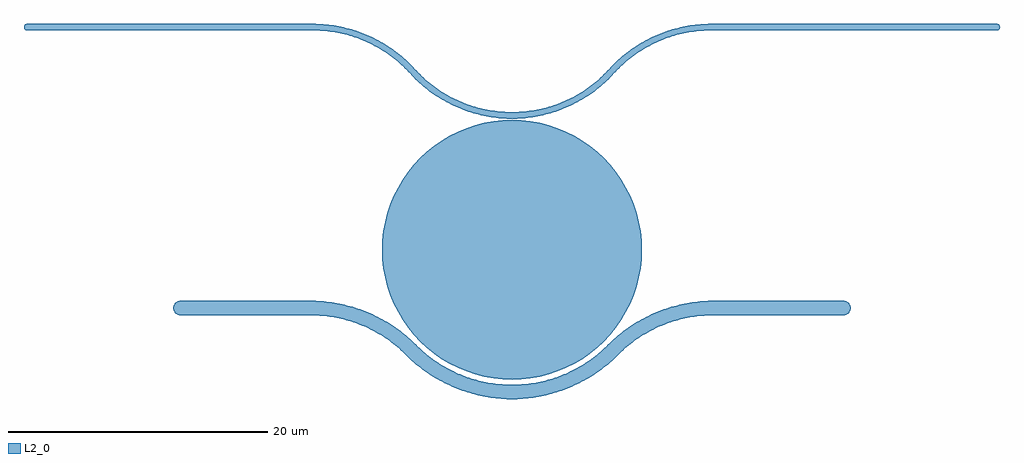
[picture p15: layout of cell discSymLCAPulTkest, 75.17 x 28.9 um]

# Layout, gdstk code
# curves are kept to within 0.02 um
import gdstk
lib = gdstk.Library(unit=1e-6, precision=1e-09)
def P(c, l, *ps):  # polygons
    for p in ps: c.add(gdstk.Polygon(p, *l))
L2_0 = (2, 0)

discsymlcapultkest = lib.new_cell('discSymLCAPulTkest')
P(discsymlcapultkest, L2_0, [(10,10),(9.287,10.025),(8.577,10.102),(7.874,10.229),(7.183,10.405),(6.505,10.631),(5.846,10.904),(5.208,11.223),(4.594,11.587),(4.007,11.995),(3.451,12.443),(2.929,12.929),(2.443,13.451),(1.995,14.007),(1.587,14.594),(1.223,15.208),(0.904,15.846),(0.631,16.505),(0.405,17.183),(0.229,17.874),(0.102,18.577),(0.025,19.287),(0,20),(0.025,20.713),(0.102,21.423),(0.229,22.126),(0.405,22.817),(0.631,23.495),(0.904,24.154),(1.223,24.792),(1.587,25.406),(1.995,25.993),(2.443,26.549),(2.929,27.071),(3.451,27.557),(4.007,28.005),(4.594,28.413),(5.208,28.777),(5.846,29.096),(6.505,29.369),(7.183,29.595),(7.874,29.771),(8.577,29.898),(9.287,29.975),(10,30),(10.713,29.975),(11.423,29.898),(12.126,29.771),(12.817,29.595),(13.495,29.369),(14.154,29.096),(14.792,28.777),(15.406,28.413),(15.993,28.005),(16.549,27.557),(17.071,27.071),(17.557,26.549),(18.005,25.993),(18.413,25.406),(18.777,24.792),(19.096,24.154),(19.369,23.495),(19.595,22.817),(19.771,22.126),(19.898,21.423),(19.975,20.713),(20,20),(19.975,19.287),(19.898,18.577),(19.771,17.874),(19.595,17.183),(19.369,16.505),(19.096,15.846),(18.777,15.208),(18.413,14.594),(18.005,14.007),(17.557,13.451),(17.071,12.929),(16.549,12.443),(15.993,11.995),(15.406,11.587),(14.792,11.223),(14.154,10.904),(13.495,10.631),(12.817,10.405),(12.126,10.229),(11.423,10.102),(10.713,10.025)],
  [(10,30.1),(8.797,30.169),(7.609,30.373),(6.452,30.711),(5.341,31.179),(4.29,31.769),(3.47,32.35),(2.709,33.005),(1.885,33.859),(1.329,34.386),(0.734,34.869),(0.105,35.305),(-0.725,35.782),(-1.596,36.178),(-2.501,36.49),(-3.431,36.715),(-4.379,36.851),(-5.335,36.896),(-27.335,36.896),(-27.335,37.396),(-5.335,37.396),(-4.332,37.348),(-3.337,37.206),(-2.361,36.97),(-1.411,36.643),(-0.496,36.227),(0.375,35.727),(1.035,35.268),(1.659,34.761),(2.1,34.351),(3.053,33.368),(3.778,32.744),(4.56,32.19),(5.561,31.628),(6.619,31.183),(7.722,30.86),(8.853,30.665),(10,30.6),(11.147,30.665),(12.278,30.86),(13.381,31.183),(14.439,31.628),(15.44,32.19),(16.222,32.744),(16.947,33.368),(17.9,34.351),(18.341,34.761),(18.965,35.268),(19.625,35.727),(20.496,36.227),(21.411,36.643),(22.361,36.97),(23.337,37.206),(24.332,37.348),(25.335,37.396),(47.335,37.396),(47.335,36.896),(25.335,36.896),(24.379,36.851),(23.431,36.715),(22.501,36.49),(21.596,36.178),(20.725,35.782),(19.895,35.305),(19.266,34.869),(18.671,34.386),(18.115,33.859),(17.291,33.005),(16.53,32.35),(15.71,31.769),(14.659,31.179),(13.548,30.711),(12.391,30.373),(11.203,30.169)],
  [(-27.335,36.896),(-27.432,36.916),(-27.512,36.969),(-27.565,37.049),(-27.585,37.146),(-27.565,37.243),(-27.512,37.323),(-27.432,37.376),(-27.335,37.396)],
  [(47.335,36.896),(47.335,37.396),(47.432,37.376),(47.512,37.323),(47.565,37.243),(47.585,37.146),(47.565,37.049),(47.512,36.969),(47.432,36.916)],
  [(10,8.5),(8.766,8.566),(7.546,8.765),(6.945,8.913),(6.159,9.16),(5.018,9.635),(3.934,10.23),(3.084,10.812),(2.444,11.331),(1.157,12.525),(0.108,13.3),(-0.532,13.682),(-1.198,14.016),(-1.886,14.303),(-2.593,14.539),(-3.134,14.683),(-3.865,14.829),(-4.419,14.904),(-5.162,14.957),(-15.535,14.964),(-15.535,16.064),(-5.329,16.062),(-4.506,16.018),(-3.892,15.946),(-2.68,15.704),(-1.889,15.471),(-1.117,15.181),(-0.368,14.838),(0.531,14.334),(1.047,13.994),(1.706,13.498),(2.327,12.957),(3.027,12.284),(3.746,11.691),(4.674,11.067),(5.495,10.627),(6.527,10.197),(7.599,9.881),(8.884,9.66),(10,9.6),(11.116,9.66),(12.401,9.881),(13.473,10.197),(14.505,10.627),(15.326,11.067),(16.254,11.691),(16.973,12.284),(17.673,12.957),(18.294,13.498),(18.953,13.994),(19.469,14.334),(20.368,14.838),(21.117,15.181),(21.889,15.471),(22.68,15.704),(23.892,15.946),(24.506,16.018),(25.329,16.062),(35.535,16.064),(35.535,14.964),(25.162,14.957),(24.419,14.904),(23.865,14.829),(23.134,14.683),(22.593,14.539),(21.886,14.303),(21.198,14.016),(20.532,13.682),(19.892,13.3),(18.843,12.525),(17.556,11.331),(16.916,10.812),(16.066,10.23),(14.982,9.635),(13.841,9.16),(13.055,8.913),(12.454,8.765),(11.234,8.566)],
  [(-15.535,14.964),(-15.749,15.007),(-15.924,15.125),(-16.042,15.3),(-16.085,15.514),(-16.042,15.728),(-15.924,15.903),(-15.749,16.021),(-15.535,16.064)],
  [(35.535,14.964),(35.535,16.064),(35.749,16.021),(35.924,15.903),(36.042,15.728),(36.085,15.514),(36.042,15.3),(35.924,15.125),(35.749,15.007)])

lib.write_gds('discSymLCAPulTkest.gds')
